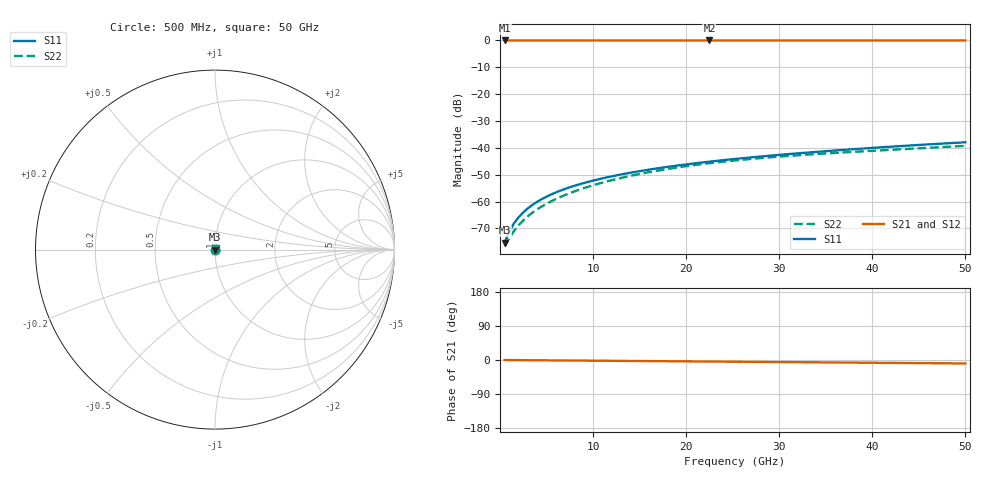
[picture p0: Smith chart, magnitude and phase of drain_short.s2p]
! AWR Design Environment (9307) Mon Sep  2 17:34:05 2019
! Document = 'Drain EM Export'
! nPorts: 2, nXvals: 220
# GHz S DB R 50
!Freq DBS11 AngS11 DBS21 AngS21 DBS12 AngS12 DBS22 AngS22
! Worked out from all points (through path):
!   100 points, 500 MHz to 50 GHz, reference 50 ohm
!   highest |S21| = 0.00 dB at 500 MHz (marker M1); lowest = 0.0 dB at 22.5 GHz (marker M2)
!   group delay of S21, straight-line fit = 507 fs
!   lowest |S11| = -75.3 dB at 500 MHz (marker M3), VSWR 1.00, Z = 50 + j0.0129 ohm
!   |S11| at or under -10 dB: start of sweep to end of sweep
!   |S22| runs from -76.6 to -39.2 dB; largest |S21 - S12| = 0
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0.5  -75.30 48.9  -0.00 -0.1  -0.00 -0.1  -76.64 40.3
1  -71.18 65.2  -0.00 -0.2  -0.00 -0.2  -73.60 57.3
1.5  -68.18 72.1  -0.00 -0.3  -0.00 -0.3  -71.00 66.5
2  -65.89 75.8  -0.00 -0.4  -0.00 -0.4  -68.85 72.0
2.5  -64.06 78.0  -0.00 -0.5  -0.00 -0.5  -67.04 75.6
3  -62.54 79.3  -0.00 -0.5  -0.00 -0.5  -65.49 78.2
4  -60.10 80.9  -0.00 -0.7  -0.00 -0.7  -62.92 81.6
4.5  -59.10 81.3  -0.00 -0.8  -0.00 -0.8  -61.83 82.7
5.5  -57.38 81.7  -0.00 -1.0  -0.00 -1.0  -59.93 84.5
7  -55.30 81.8  -0.00 -1.3  -0.00 -1.3  -57.57 86.2
9  -53.13 81.4  -0.00 -1.6  -0.00 -1.6  -55.03 87.6
10.5  -51.79 80.9  -0.00 -1.9  -0.00 -1.9  -53.45 88.3
12.5  -50.28 80.1  -0.00 -2.2  -0.00 -2.2  -51.64 89.0
14.5  -48.99 79.1  -0.00 -2.6  -0.00 -2.6  -50.10 89.4
17  -47.60 77.9  -0.00 -3.0  -0.00 -3.0  -48.47 89.7
19.5  -46.41 76.6  -0.00 -3.5  -0.00 -3.5  -47.10 89.8
22.5  -45.16 75.0  -0.00 -4.0  -0.00 -4.0  -45.73 89.8
25.5  -44.06 73.4  -0.00 -4.6  -0.00 -4.6  -44.61 89.7
29  -42.93 71.5  -0.00 -5.2  -0.00 -5.2  -43.54 89.4
33.5  -41.65 68.9  -0.00 -6.1  -0.00 -6.1  -42.43 89.4
42  -39.58 64.1  -0.00 -7.6  -0.00 -7.6  -40.75 89.5
50  -37.94 60.2  -0.00 -9.1  -0.00 -9.1  -39.25 87.7
